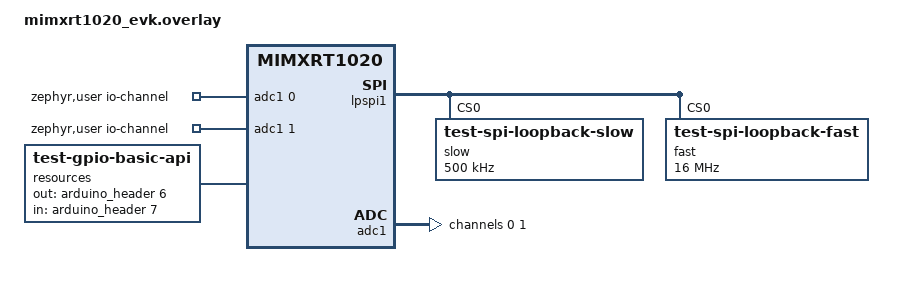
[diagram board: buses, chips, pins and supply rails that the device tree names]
/*
 * Copyright (c) 2022 Kumar Gala <galak@kernel.org>
 *
 * SPDX-License-Identifier: Apache-2.0
 */

&lpspi1 {
	slow@0 {
		compatible = "test-spi-loopback-slow";
		reg = <0>;
		spi-max-frequency = <500000>;
	};

	fast@0 {
		compatible = "test-spi-loopback-fast";
		reg = <0>;
		spi-max-frequency = <16000000>;
	};

	transfer-delay = <100>;
	pcs-sck-delay = <100>;
	sck-pcs-delay = <100>;
};

#include <zephyr/dt-bindings/adc/mcux-lpadc.h>

/ {
	zephyr,user {
		io-channels = <&adc1 0>, <&adc1 1>;
	};
};

&adc1 {
	#address-cells = <1>;
	#size-cells = <0>;
	channel@0 {
		reg = <0>;
		zephyr,gain = "ADC_GAIN_1";
		zephyr,reference = "ADC_REF_INTERNAL";
		zephyr,acquisition-time = <ADC_ACQ_TIME_DEFAULT>;
		zephyr,resolution = <12>;
	};
	channel@1 {
		reg = <1>;
		zephyr,gain = "ADC_GAIN_1";
		zephyr,reference = "ADC_REF_INTERNAL";
		zephyr,acquisition-time = <ADC_ACQ_TIME_DEFAULT>;
		zephyr,resolution = <12>;
	};
};

/ {
	resources {
		compatible = "test-gpio-basic-api";
		status = "okay";
		out-gpios = <&arduino_header 6 (GPIO_ACTIVE_HIGH | GPIO_PUSH_PULL | GPIO_PULL_UP)>;
		in-gpios = <&arduino_header 7 (GPIO_ACTIVE_HIGH | GPIO_PUSH_PULL | GPIO_PULL_UP)>;
	};
};
